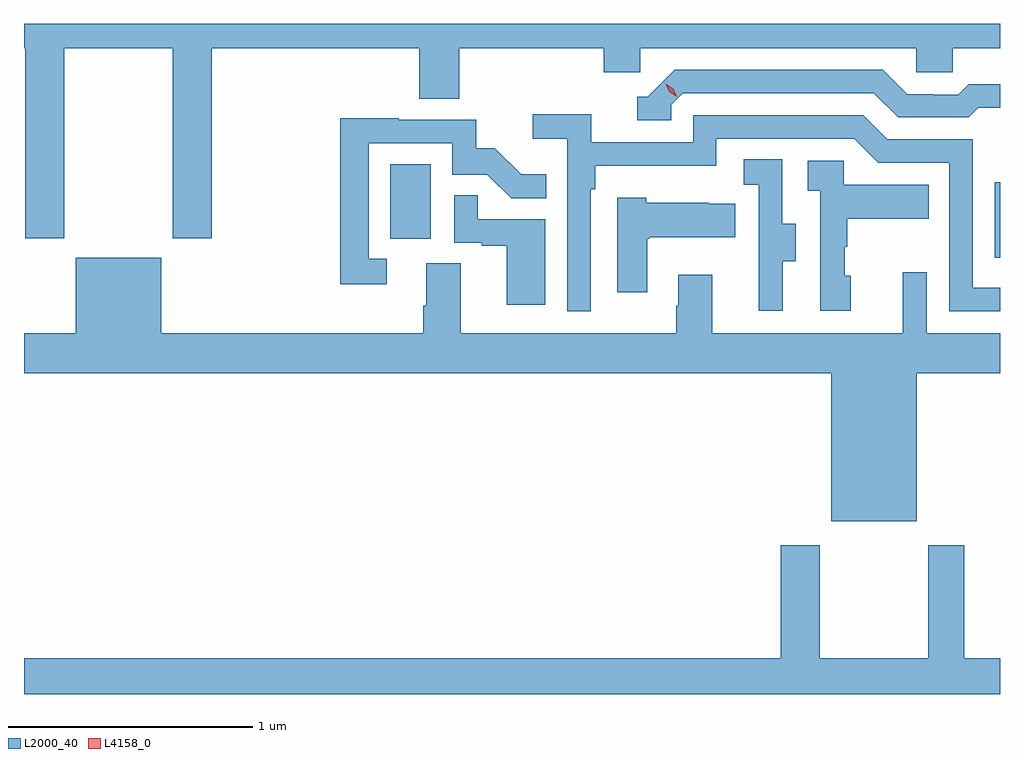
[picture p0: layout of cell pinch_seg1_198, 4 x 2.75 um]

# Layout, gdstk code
import gdstk
lib = gdstk.Library(unit=1e-6, precision=1e-09)
def R(c, l, rs):  # rectangles x0, y0, x1, y1
    for r in rs: c.add(gdstk.rectangle(r[:2], r[2:], *l))
def P(c, l, *ps):  # polygons
    for p in ps: c.add(gdstk.Polygon(p, *l))
L2000_40 = (2000, 40)
L4158_0 = (4158, 0)

pinch_seg1_198 = lib.new_cell('pinch_seg1_198')
R(pinch_seg1_198, L2000_40, [(1004.07,582.84,1004.092,583.15), (1001.594,582.918,1001.758,583.225)])
P(pinch_seg1_198, L2000_40, [(1000.257,583.7),(1000.702,583.7),(1000.702,582.921),(1000.862,582.921),(1000.862,583.7),(1001.711,583.7),(1001.711,583.492),(1001.876,583.492),(1001.876,583.7),(1002.467,583.7),(1002.467,583.602),(1002.618,583.602),(1002.618,583.7),(1003.749,583.7),(1003.749,583.602),(1003.899,583.602),(1003.899,583.7),(1004.092,583.7),(1004.092,583.8),(1000.092,583.8),(1000.092,583.7),(1000.097,583.7),(1000.097,582.921),(1000.257,582.921)],
  [(1002.744,583.467),(1002.792,583.515),(1003.575,583.515),(1003.674,583.416),(1003.963,583.416),(1004.002,583.455),(1004.092,583.455),(1004.092,583.552),(1003.963,583.552),(1003.921,583.509),(1003.818,583.509),(1003.818,583.512),(1003.711,583.512),(1003.612,583.611),(1002.759,583.611),(1002.648,583.5),(1002.605,583.5),(1002.605,583.404),(1002.744,583.404)],
  [(1002.414,583.121),(1002.434,583.121),(1002.434,583.217),(1002.93,583.217),(1002.93,583.329),(1003.494,583.329),(1003.593,583.23),(1003.884,583.23),(1003.884,582.621),(1004.092,582.621),(1004.092,582.717),(1003.98,582.717),(1003.98,583.326),(1003.63,583.326),(1003.531,583.425),(1002.834,583.425),(1002.834,583.314),(1002.416,583.314),(1002.416,583.43),(1002.177,583.43),(1002.177,583.328),(1002.318,583.328),(1002.318,582.621),(1002.414,582.621)],
  [(1001.578,582.837),(1001.505,582.837),(1001.505,583.311),(1001.847,583.311),(1001.847,583.182),(1001.991,583.182),(1002.089,583.084),(1002.233,583.084),(1002.233,583.183),(1002.129,583.183),(1002.022,583.29),(1001.946,583.29),(1001.946,583.407),(1001.627,583.407),(1001.627,583.412),(1001.389,583.412),(1001.389,582.732),(1001.578,582.732)],
  [(1003.201,582.826),(1003.255,582.826),(1003.255,582.981),(1003.2,582.981),(1003.2,583.244),(1003.041,583.244),(1003.041,583.141),(1003.104,583.141),(1003.104,582.837),(1003.103,582.837),(1003.103,582.624),(1003.201,582.624)],
  [(1003.48,582.768),(1003.455,582.768),(1003.455,582.887),(1003.465,582.887),(1003.465,583.001),(1003.799,583.001),(1003.799,583.141),(1003.452,583.141),(1003.452,583.239),(1003.305,583.239),(1003.305,583.115),(1003.356,583.115),(1003.356,582.624),(1003.48,582.624)],
  [(1002.229,582.999),(1001.951,582.999),(1001.951,583.097),(1001.856,583.097),(1001.856,582.903),(1001.967,582.903),(1001.967,582.891),(1002.071,582.891),(1002.071,582.648),(1002.229,582.648)],
  [(1002.646,582.919),(1002.654,582.919),(1002.654,582.926),(1003.007,582.926),(1003.007,583.063),(1002.899,583.063),(1002.899,583.066),(1002.642,583.066),(1002.642,583.087),(1002.524,583.087),(1002.524,582.699),(1002.646,582.699)],
  [(1003.75,582.368),(1004.092,582.368),(1004.092,582.532),(1003.791,582.532),(1003.791,582.781),(1003.694,582.781),(1003.694,582.532),(1002.913,582.532),(1002.913,582.772),(1002.773,582.772),(1002.773,582.644),(1002.766,582.644),(1002.766,582.532),(1001.881,582.532),(1001.881,582.818),(1001.741,582.818),(1001.741,582.644),(1001.729,582.644),(1001.729,582.532),(1000.654,582.532),(1000.654,582.841),(1000.304,582.841),(1000.304,582.532),(1000.092,582.532),(1000.092,582.368),(1003.4,582.368),(1003.4,581.762),(1003.75,581.762)],
  [(1004.092,581.2),(1003.945,581.2),(1003.945,581.662),(1003.798,581.662),(1003.798,581.2),(1003.353,581.2),(1003.353,581.662),(1003.193,581.662),(1003.193,581.2),(1000.092,581.2),(1000.092,581.052),(1004.092,581.052)])
P(pinch_seg1_198, L4158_0, [(1002.767,583.5),(1002.737,583.521),(1002.722,583.554),(1002.722,583.554),(1002.722,583.554),(1002.752,583.534),(1002.768,583.501),(1002.768,583.5)])

lib.write_gds('pinch_seg1_198.gds')
